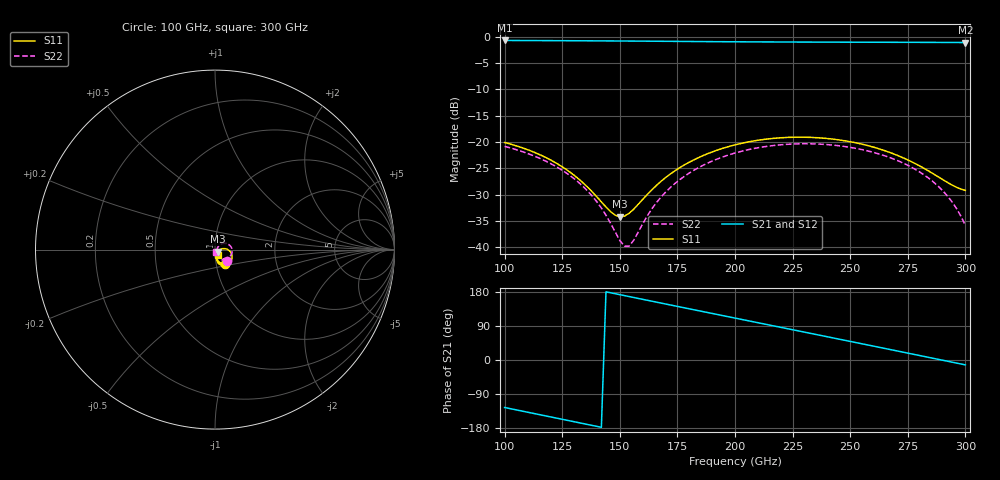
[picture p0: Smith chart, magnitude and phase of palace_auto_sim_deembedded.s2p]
! Created with skrf 1.11.0 (http://scikit-rf.org).
# GHz S DB R 50.0
!freq dBS11 angS11 dBS21 angS21 dBS12 angS12 dBS22 angS22
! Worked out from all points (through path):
!   101 points, 100 GHz to 300 GHz, reference 50 ohm
!   highest |S21| = -0.74 dB at 100 GHz (marker M1); lowest = -1.1 dB at 300 GHz (marker M2)
!   group delay of S21, straight-line fit = 3.43 ps
!   lowest |S11| = -34.2 dB at 150 GHz (marker M3), VSWR 1.04, Z = 51.5 - j1.24 ohm
!   |S11| at or under -10 dB: start of sweep to end of sweep
!   |S22| runs from -39.8 to -20.3 dB; largest |S21 - S12| = 1.1e-14
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100  -20.11 -56.0  -0.74 -125.4  -0.74 -125.4  -20.84 -42.3
120  -23.43 -73.7  -0.77 -150.2  -0.77 -150.2  -24.12 -58.9
134  -27.74 -78.4  -0.80 -167.6  -0.80 -167.6  -28.43 -66.8
142  -31.38 -69.9  -0.82 -177.6  -0.82 -177.6  -32.55 -64.9
146  -33.23 -57.6  -0.83 177.4  -0.83 177.4  -35.44 -57.7
150  -34.21 -38.2  -0.84 172.5  -0.84 172.5  -38.69 -38.3
152  -34.09 -27.6  -0.84 170.0  -0.84 170.0  -39.79 -21.1
154  -33.56 -17.9  -0.85 167.5  -0.85 167.5  -39.78 -1.4
156  -32.77 -10.0  -0.85 165.0  -0.85 165.0  -38.69 15.7
162  -29.94 3.2  -0.87 157.5  -0.87 157.5  -33.98 39.4
168  -27.44 6.8  -0.89 150.1  -0.89 150.1  -30.41 44.0
174  -25.45 5.9  -0.91 142.7  -0.91 142.7  -27.86 43.0
182  -23.43 1.6  -0.94 132.8  -0.94 132.8  -25.41 38.4
200  -20.56 -13.6  -0.99 110.6  -0.99 110.6  -22.10 22.9
216  -19.35 -29.4  -1.02 91.0  -1.02 91.0  -20.72 7.0
234  -19.16 -47.4  -1.05 68.8  -1.05 68.8  -20.37 -11.6
250  -19.96 -62.4  -1.06 49.1  -1.06 49.1  -21.03 -28.3
268  -22.12 -76.0  -1.08 26.8  -1.08 26.8  -23.10 -47.1
278  -24.06 -79.7  -1.09 14.4  -1.09 14.4  -25.14 -57.3
288  -26.57 -77.1  -1.11 2.0  -1.11 2.0  -28.33 -66.6
294  -28.13 -69.7  -1.12 -5.4  -1.12 -5.4  -31.26 -70.9
300  -29.20 -56.8  -1.13 -12.9  -1.13 -12.9  -35.88 -71.7
